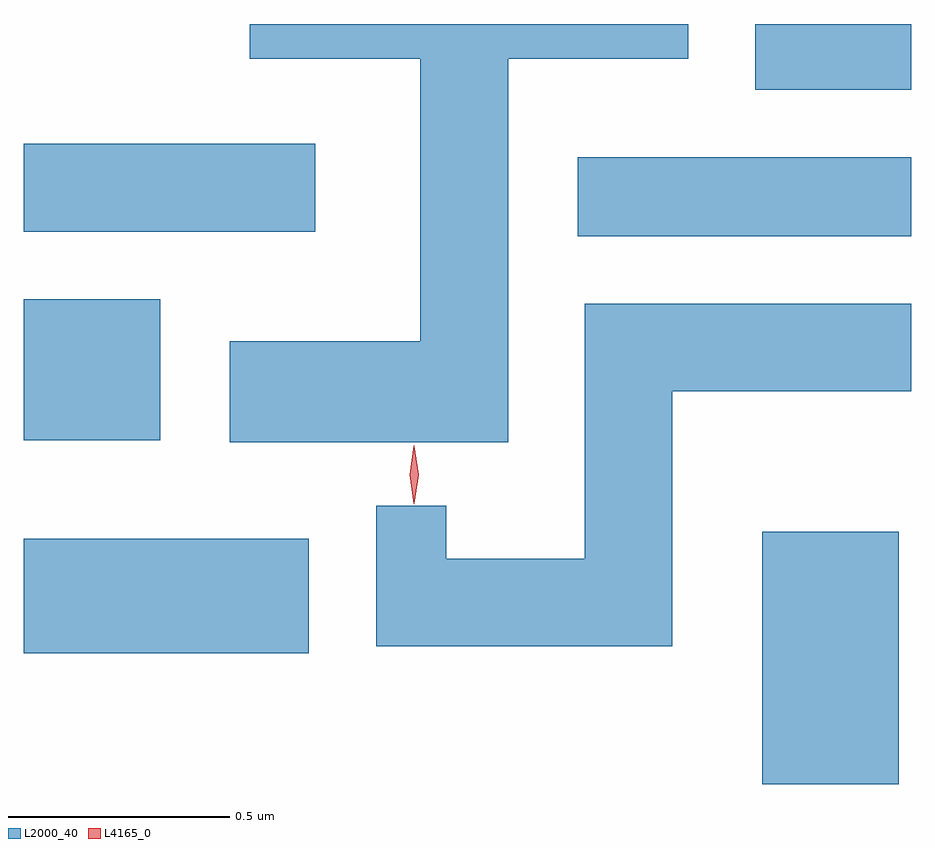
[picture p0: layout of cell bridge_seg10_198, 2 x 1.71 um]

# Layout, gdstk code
import gdstk
lib = gdstk.Library(unit=1e-6, precision=1e-09)
def R(c, l, rs):  # rectangles x0, y0, x1, y1
    for r in rs: c.add(gdstk.rectangle(r[:2], r[2:], *l))
def P(c, l, *ps):  # polygons
    for p in ps: c.add(gdstk.Polygon(p, *l))
L2000_40 = (2000, 40)
L4165_0 = (4165, 0)

bridge_seg10_198 = lib.new_cell('bridge_seg10_198')
R(bridge_seg10_198, L2000_40, [(1821.951,2123.026,1822.259,2123.594), (1820.287,2123.321,1820.929,2123.579), (1820.287,2123.801,1820.594,2124.119), (1821.536,2124.261,1822.287,2124.439), (1820.287,2124.271,1820.944,2124.469), (1821.936,2124.591,1822.287,2124.739)])
P(bridge_seg10_198, L2000_40, [(1821.379,2124.661),(1821.784,2124.661),(1821.784,2124.739),(1820.796,2124.739),(1820.796,2124.661),(1821.181,2124.661),(1821.181,2124.024),(1820.751,2124.024),(1820.751,2123.796),(1821.379,2123.796)],
  [(1821.749,2123.911),(1822.287,2123.911),(1822.287,2124.109),(1821.551,2124.109),(1821.551,2123.534),(1821.239,2123.534),(1821.239,2123.653),(1821.081,2123.653),(1821.081,2123.336),(1821.749,2123.336)])
P(bridge_seg10_198, L4165_0, [(1821.167,2123.657),(1821.166,2123.658),(1821.157,2123.723),(1821.166,2123.788),(1821.167,2123.789),(1821.167,2123.788),(1821.177,2123.723),(1821.167,2123.658)])

lib.write_gds('bridge_seg10_198.gds')
